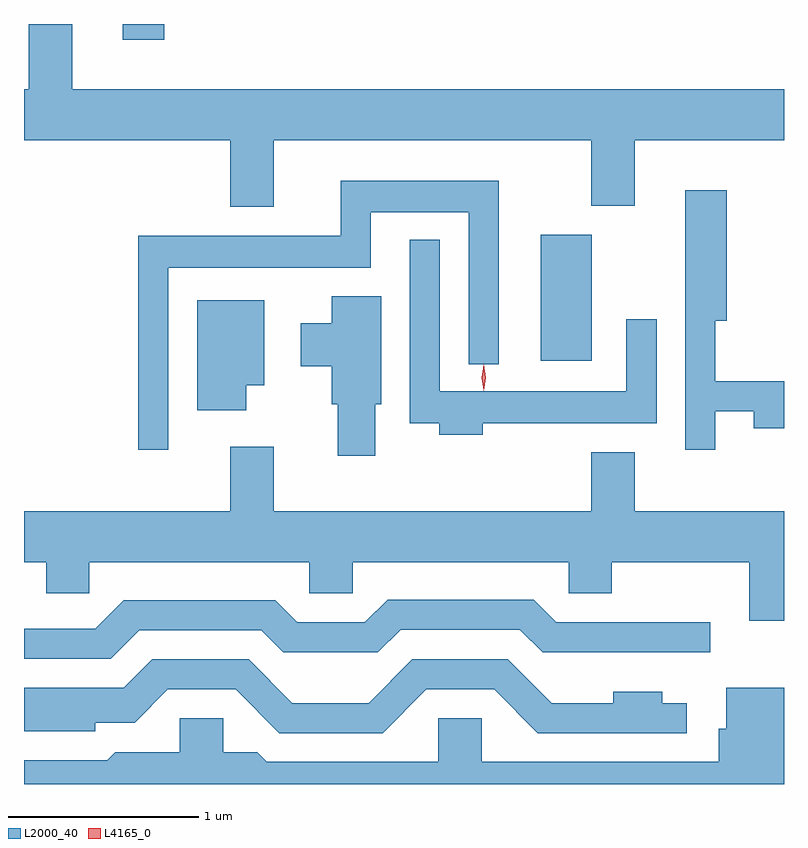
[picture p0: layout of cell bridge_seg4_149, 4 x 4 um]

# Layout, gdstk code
import gdstk
lib = gdstk.Library(unit=1e-6, precision=1e-09)
def R(c, l, rs):  # rectangles x0, y0, x1, y1
    for r in rs: c.add(gdstk.rectangle(r[:2], r[2:], *l))
def P(c, l, *ps):  # polygons
    for p in ps: c.add(gdstk.Polygon(p, *l))
L2000_40 = (2000, 40)
L4165_0 = (4165, 0)

bridge_seg4_149 = lib.new_cell('bridge_seg4_149')
R(bridge_seg4_149, L2000_40, [(872.746,1313.556,873.014,1314.219), (870.546,1315.246,870.764,1315.328)])
P(bridge_seg4_149, L2000_40, [(870.279,1315.328),(870.051,1315.328),(870.051,1314.984),(870.025,1314.984),(870.025,1314.716),(871.111,1314.716),(871.111,1314.366),(871.339,1314.366),(871.339,1314.716),(873.011,1314.716),(873.011,1314.371),(873.239,1314.371),(873.239,1314.716),(874.025,1314.716),(874.025,1314.984),(870.279,1314.984)],
  [(870.784,1314.046),(871.849,1314.046),(871.849,1314.336),(872.366,1314.336),(872.366,1313.538),(872.524,1313.538),(872.524,1314.504),(871.691,1314.504),(871.691,1314.214),(870.626,1314.214),(870.626,1313.088),(870.784,1313.088)],
  [(873.664,1313.291),(873.866,1313.291),(873.866,1313.201),(874.025,1313.201),(874.025,1313.449),(873.664,1313.449),(873.664,1313.766),(873.724,1313.766),(873.724,1314.454),(873.506,1314.454),(873.506,1313.088),(873.664,1313.088)],
  [(872.439,1313.226),(873.354,1313.226),(873.354,1313.773),(873.196,1313.773),(873.196,1313.394),(872.214,1313.394),(872.214,1314.193),(872.056,1314.193),(872.056,1313.226),(872.211,1313.226),(872.211,1313.166),(872.439,1313.166)],
  [(871.874,1313.326),(871.904,1313.326),(871.904,1313.894),(871.646,1313.894),(871.646,1313.754),(871.481,1313.754),(871.481,1313.526),(871.646,1313.526),(871.646,1313.326),(871.676,1313.326),(871.676,1313.056),(871.874,1313.056)],
  [(871.194,1313.426),(871.289,1313.426),(871.289,1313.874),(870.936,1313.874),(870.936,1313.296),(871.194,1313.296)],
  [(874.025,1312.764),(873.239,1312.764),(873.239,1313.074),(873.011,1313.074),(873.011,1312.764),(871.339,1312.764),(871.339,1313.104),(871.111,1313.104),(871.111,1312.764),(870.025,1312.764),(870.025,1312.496),(870.141,1312.496),(870.141,1312.331),(870.369,1312.331),(870.369,1312.496),(871.526,1312.496),(871.526,1312.331),(871.754,1312.331),(871.754,1312.496),(872.891,1312.496),(872.891,1312.331),(873.119,1312.331),(873.119,1312.496),(873.841,1312.496),(873.841,1312.186),(874.025,1312.186)],
  [(870.632,1312.136),(871.274,1312.136),(871.389,1312.021),(871.887,1312.021),(872.007,1312.141),(872.634,1312.141),(872.754,1312.021),(873.638,1312.021),(873.638,1312.179),(872.827,1312.179),(872.707,1312.299),(871.939,1312.299),(871.819,1312.179),(871.462,1312.179),(871.347,1312.294),(870.549,1312.294),(870.399,1312.144),(870.025,1312.144),(870.025,1311.986),(870.482,1311.986)],
  [(872.142,1311.826),(872.499,1311.826),(872.729,1311.596),(873.513,1311.596),(873.513,1311.754),(873.384,1311.754),(873.384,1311.814),(873.126,1311.814),(873.126,1311.754),(872.802,1311.754),(872.572,1311.984),(872.069,1311.984),(871.839,1311.754),(871.437,1311.754),(871.207,1311.984),(870.699,1311.984),(870.549,1311.834),(870.025,1311.834),(870.025,1311.606),(870.399,1311.606),(870.399,1311.651),(870.607,1311.651),(870.782,1311.826),(871.139,1311.826),(871.369,1311.596),(871.912,1311.596)],
  [(874.025,1311.834),(873.721,1311.834),(873.721,1311.619),(873.681,1311.619),(873.681,1311.444),(872.434,1311.444),(872.434,1311.674),(872.206,1311.674),(872.206,1311.444),(871.302,1311.444),(871.252,1311.494),(871.074,1311.494),(871.074,1311.674),(870.846,1311.674),(870.846,1311.494),(870.504,1311.494),(870.464,1311.454),(870.025,1311.454),(870.025,1311.328),(874.025,1311.328)])
P(bridge_seg4_149, L4165_0, [(872.445,1313.397),(872.445,1313.398),(872.436,1313.467),(872.445,1313.536),(872.445,1313.536),(872.446,1313.536),(872.455,1313.467),(872.446,1313.398)],
  [(872.445,1313.399),(872.445,1313.4),(872.435,1313.466),(872.445,1313.532),(872.445,1313.533),(872.446,1313.532),(872.455,1313.466),(872.446,1313.4)])

lib.write_gds('bridge_seg4_149.gds')
